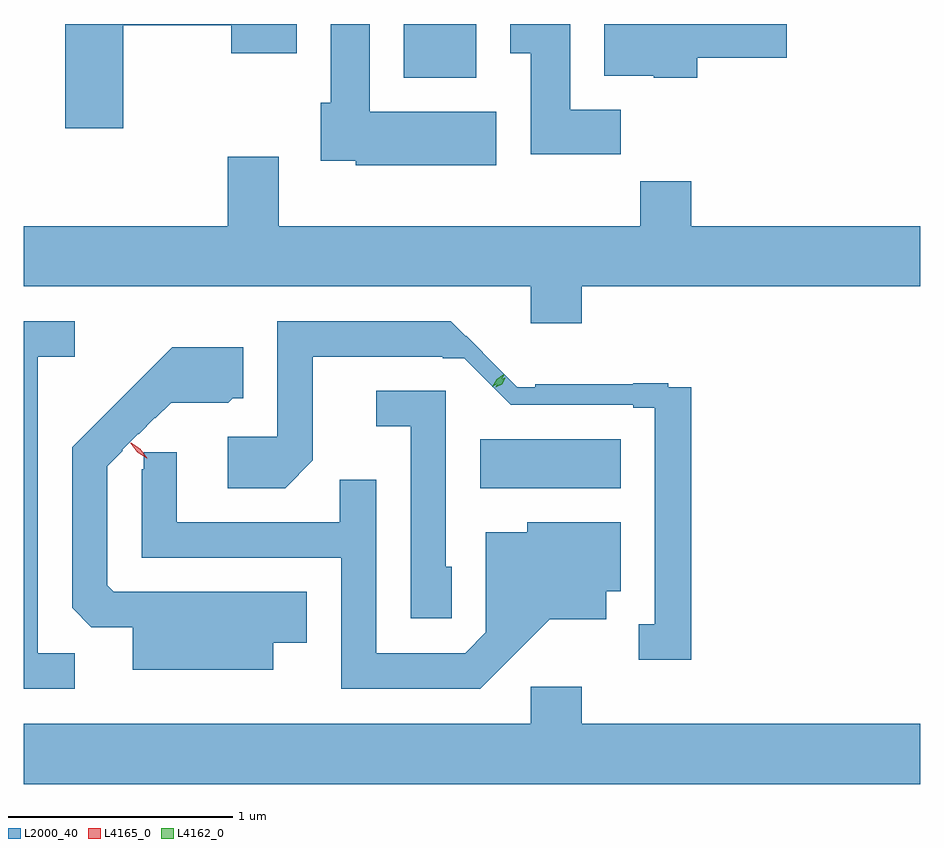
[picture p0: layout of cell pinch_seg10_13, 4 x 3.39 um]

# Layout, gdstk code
import gdstk
lib = gdstk.Library(unit=1e-6, precision=1e-09)
def R(c, l, rs):  # rectangles x0, y0, x1, y1
    for r in rs: c.add(gdstk.rectangle(r[:2], r[2:], *l))
def P(c, l, *ps):  # polygons
    for p in ps: c.add(gdstk.Polygon(p, *l))
L2000_40 = (2000, 40)
L4162_0 = (4162, 0)
L4165_0 = (4165, 0)

pinch_seg10_13 = lib.new_cell('pinch_seg10_13')
R(pinch_seg10_13, L2000_40, [(640.396,2141.876,641.024,2142.094), (640.056,2143.706,640.379,2143.946)])
P(pinch_seg10_13, L2000_40, [(640.469,2143.554),(639.904,2143.554),(639.904,2143.946),(639.731,2143.946),(639.731,2143.594),(639.686,2143.594),(639.686,2143.336),(639.841,2143.336),(639.841,2143.316),(640.469,2143.316)],
  [(641.024,2143.564),(640.799,2143.564),(640.799,2143.946),(640.531,2143.946),(640.531,2143.816),(640.621,2143.816),(640.621,2143.366),(641.024,2143.366)],
  [(638.804,2143.941),(639.286,2143.941),(639.286,2143.816),(639.579,2143.816),(639.579,2143.946),(638.546,2143.946),(638.546,2143.481),(638.804,2143.481)],
  [(641.364,2143.796),(641.764,2143.796),(641.764,2143.946),(640.951,2143.946),(640.951,2143.716),(641.17,2143.716),(641.17,2143.706),(641.364,2143.706)],
  [(640.849,2142.776),(642.36,2142.776),(642.36,2143.044),(641.339,2143.044),(641.339,2143.244),(641.111,2143.244),(641.111,2143.044),(639.499,2143.044),(639.499,2143.354),(639.271,2143.354),(639.271,2143.044),(638.36,2143.044),(638.36,2142.776),(640.621,2142.776),(640.621,2142.611),(640.849,2142.611)],
  [(641.339,2142.325),(641.235,2142.325),(641.235,2142.343),(641.08,2142.343),(641.08,2142.339),(640.642,2142.339),(640.642,2142.325),(640.561,2142.325),(640.407,2142.48),(640.408,2142.481),(640.334,2142.556),(640.332,2142.553),(640.266,2142.619),(639.491,2142.619),(639.491,2142.104),(639.271,2142.104),(639.271,2141.876),(639.527,2141.876),(639.649,2141.999),(639.649,2142.461),(640.23,2142.461),(640.23,2142.454),(640.326,2142.454),(640.533,2142.247),(641.08,2142.247),(641.08,2142.235),(641.176,2142.235),(641.176,2141.269),(641.103,2141.269),(641.103,2141.111),(641.339,2141.111)],
  [(638.588,2141.139),(638.424,2141.139),(638.424,2142.461),(638.588,2142.461),(638.588,2142.619),(638.36,2142.619),(638.36,2140.981),(638.588,2140.981)],
  [(639.474,2141.186),(639.624,2141.186),(639.624,2141.414),(638.762,2141.414),(638.734,2141.442),(638.734,2141.974),(638.803,2142.043),(638.799,2142.047),(638.871,2142.119),(638.873,2142.117),(638.945,2142.189),(638.948,2142.187),(639.018,2142.256),(639.272,2142.256),(639.292,2142.276),(639.339,2142.276),(639.339,2142.504),(639.024,2142.504),(638.576,2142.057),(638.576,2141.342),(638.662,2141.256),(638.846,2141.256),(638.846,2141.066),(639.474,2141.066)],
  [(640.269,2141.524),(640.244,2141.524),(640.244,2142.309),(639.933,2142.309),(639.933,2142.151),(640.086,2142.151),(640.086,2141.296),(640.269,2141.296)],
  [(640.707,2141.291),(640.959,2141.291),(640.959,2141.416),(641.024,2141.416),(641.024,2141.724),(640.606,2141.724),(640.606,2141.679),(640.421,2141.679),(640.421,2141.232),(640.329,2141.139),(639.934,2141.139),(639.934,2141.913),(639.771,2141.913),(639.771,2141.724),(639.044,2141.724),(639.044,2142.035),(638.896,2142.035),(638.896,2141.96),(638.886,2141.96),(638.886,2141.566),(639.776,2141.566),(639.776,2140.981),(640.397,2140.981)],
  [(642.36,2140.824),(640.849,2140.824),(640.849,2140.989),(640.621,2140.989),(640.621,2140.824),(638.36,2140.824),(638.36,2140.556),(642.36,2140.556)])
P(pinch_seg10_13, L4162_0, [(640.451,2142.328),(640.451,2142.328),(640.47,2142.362),(640.502,2142.383),(640.503,2142.383),(640.503,2142.382),(640.484,2142.348),(640.451,2142.328)],
  [(640.466,2142.325),(640.466,2142.326),(640.48,2142.354),(640.507,2142.369),(640.508,2142.369),(640.508,2142.368),(640.494,2142.34),(640.466,2142.325)])
P(pinch_seg10_13, L4165_0, [(638.908,2142.011),(638.867,2142.038),(638.839,2142.079),(638.839,2142.079),(638.84,2142.079),(638.881,2142.052),(638.909,2142.012),(638.909,2142.011)],
  [(638.91,2142.009),(638.866,2142.036),(638.835,2142.078),(638.835,2142.078),(638.836,2142.078),(638.88,2142.051),(638.911,2142.01),(638.911,2142.009)])

lib.write_gds('pinch_seg10_13.gds')
